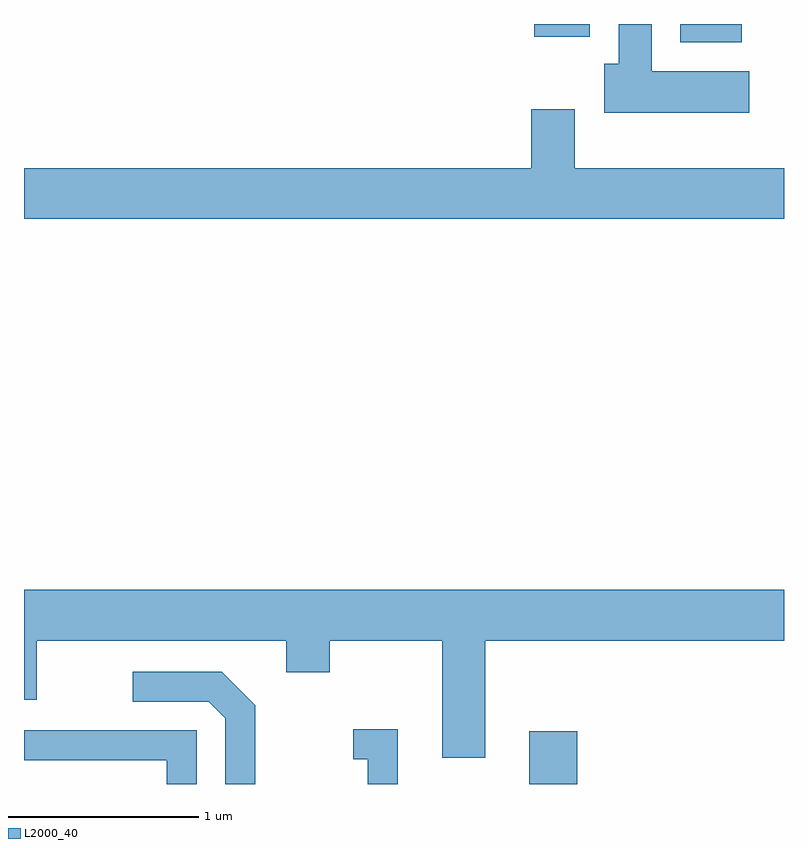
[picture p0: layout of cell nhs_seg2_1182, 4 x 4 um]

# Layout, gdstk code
import gdstk
lib = gdstk.Library(unit=1e-6, precision=1e-09)
def R(c, l, rs):  # rectangles x0, y0, x1, y1
    for r in rs: c.add(gdstk.rectangle(r[:2], r[2:], *l))
def P(c, l, *ps):  # polygons
    for p in ps: c.add(gdstk.Polygon(p, *l))
L2000_40 = (2000, 40)

nhs_seg2_1182 = lib.new_cell('nhs_seg2_1182')
R(nhs_seg2_1182, L2000_40, [(222.271,1029.802,222.524,1030.079), (223.066,1033.706,223.389,1033.802), (222.296,1033.736,222.589,1033.802)])
P(nhs_seg2_1182, L2000_40, [(223.429,1033.554),(222.914,1033.554),(222.914,1033.802),(222.741,1033.802),(222.741,1033.594),(222.666,1033.594),(222.666,1033.336),(223.429,1033.336)],
  [(223.611,1033.044),(222.509,1033.044),(222.509,1033.354),(222.281,1033.354),(222.281,1033.044),(219.611,1033.044),(219.611,1032.776),(223.611,1032.776)],
  [(222.039,1030.556),(223.611,1030.556),(223.611,1030.824),(219.611,1030.824),(219.611,1030.246),(219.679,1030.246),(219.679,1030.556),(220.991,1030.556),(220.991,1030.391),(221.219,1030.391),(221.219,1030.556),(221.811,1030.556),(221.811,1029.941),(222.039,1029.941)],
  [(220.829,1030.217),(220.652,1030.394),(220.183,1030.394),(220.183,1030.236),(220.584,1030.236),(220.671,1030.149),(220.671,1029.802),(220.829,1029.802)],
  [(221.579,1030.089),(221.343,1030.089),(221.343,1029.931),(221.421,1029.931),(221.421,1029.802),(221.579,1029.802)],
  [(220.519,1030.084),(219.611,1030.084),(219.611,1029.926),(220.361,1029.926),(220.361,1029.802),(220.519,1029.802)])

lib.write_gds('nhs_seg2_1182.gds')
